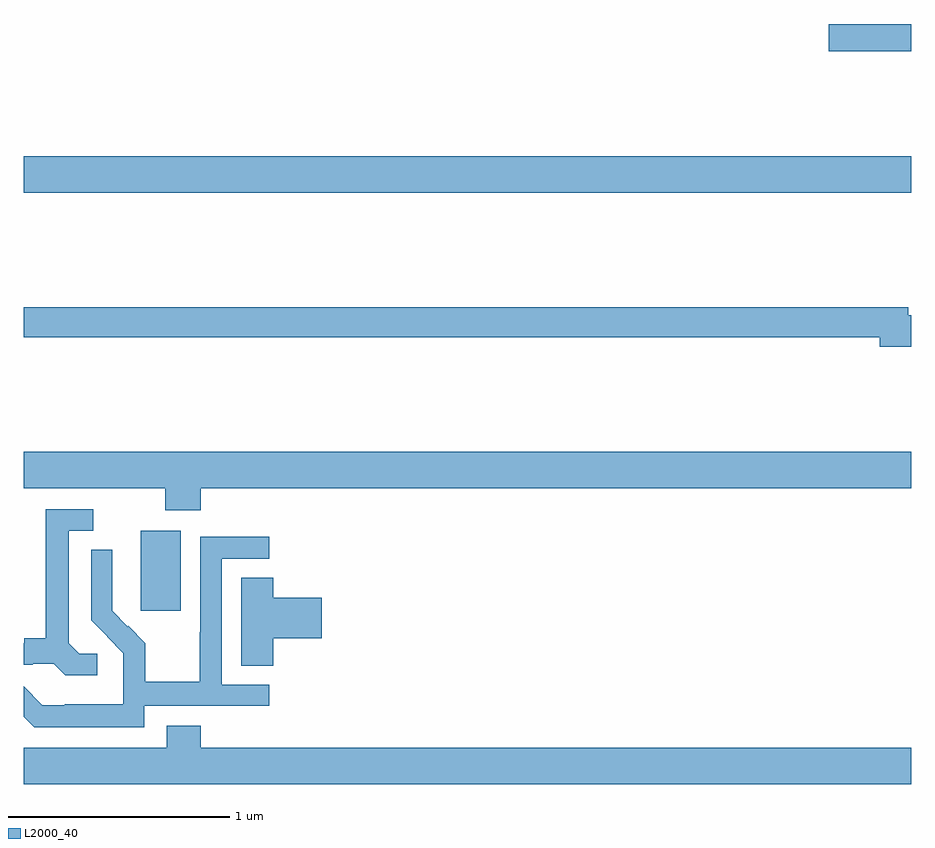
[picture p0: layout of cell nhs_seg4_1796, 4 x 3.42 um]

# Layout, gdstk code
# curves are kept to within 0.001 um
import gdstk
lib = gdstk.Library(unit=1e-6, precision=1e-09)
def R(c, l, rs):  # rectangles x0, y0, x1, y1
    for r in rs: c.add(gdstk.rectangle(r[:2], r[2:], *l))
def P(c, l, *ps):  # polygons
    for p in ps: c.add(gdstk.Polygon(p, *l))
L2000_40 = (2000, 40)

nhs_seg4_1796 = lib.new_cell('nhs_seg4_1796')
R(nhs_seg4_1796, L2000_40, [(203.528,808.257,203.707,808.618), (203,810.14,207,810.304), (206.628,810.778,207,810.9)])
P(nhs_seg4_1796, L2000_40, [(207,809.588),(206.986,809.588),(206.986,809.624),(203,809.624),(203,809.488),(206.858,809.488),(206.858,809.446),(207,809.446)],
  [(203.798,808.808),(207,808.808),(207,808.972),(203,808.972),(203,808.808),(203.638,808.808),(203.638,808.709),(203.798,808.709)],
  [(203.332,808.062),(203.25,808.062),(203.203,808.109),(203.203,808.617),(203.314,808.617),(203.314,808.713),(203.099,808.713),(203.099,808.133),(203.003,808.133),(203.003,808.11),(203,808.11),(203,808.014),(203.042,808.014),(203.042,808.017),(203.136,808.017),(203.188,807.965),(203.332,807.965)],
  [(203.544,807.828),(204.106,807.828),(204.106,807.924),(203.892,807.924),(203.892,808.491),(204.106,808.491),(204.106,808.59),(203.796,808.59),(203.796,808.16),(203.794,808.16),(203.794,807.937),(203.549,807.937),(203.549,808.111),(203.472,808.188),(203.469,808.185),(203.399,808.256),(203.4,808.532),(203.304,808.532),(203.304,808.214),(203.45,808.066),(203.45,807.969),(203.448,807.969),(203.448,807.835),(203.185,807.835),(203.185,807.831),(203.085,807.831),(203,807.916),(203,807.778),(203.047,807.731),(203.544,807.731)],
  [(204.125,808.133),(204.343,808.133),(204.343,808.316),(204.125,808.316),(204.125,808.406),(203.981,808.406),(203.981,808.009),(204.125,808.009)],
  [(207,807.64),(203.798,807.64),(203.798,807.739),(203.645,807.739),(203.645,807.64),(203,807.64),(203,807.476),(207,807.476)])

lib.write_gds('nhs_seg4_1796.gds')
